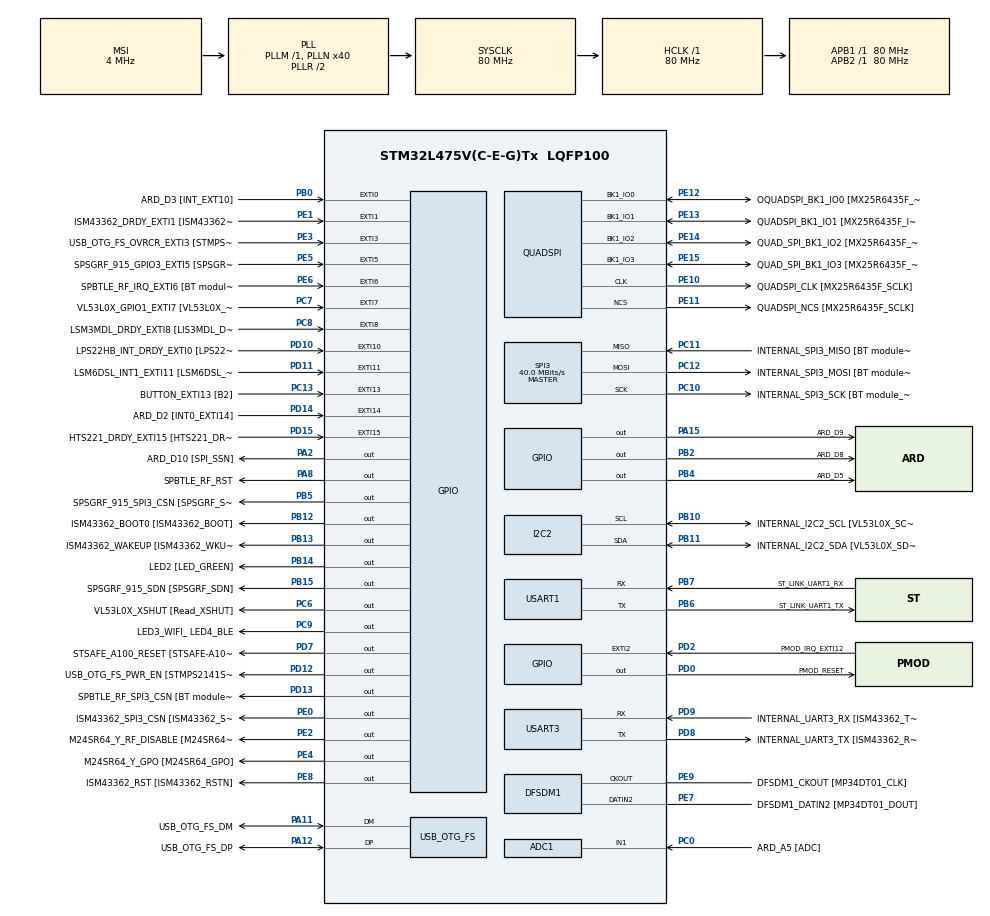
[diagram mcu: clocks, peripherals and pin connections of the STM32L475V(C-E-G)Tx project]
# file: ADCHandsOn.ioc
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PD12.GPIO_Label=USB_OTG_FS_PWR_EN [STMPS2141STR_EN]
SPI3.Direction=SPI_DIRECTION_2LINES
SPI3.VirtualType=VM_MASTER
QUADSPI.ClockPrescaler=2
PB10.Mode=I2C
PC12.Signal=SPI3_MOSI
PB14.GPIO_Label=LED2 [LED_GREEN]
PC6.GPIO_Label=VL53L0X_XSHUT [Read_XSHUT]
PA6.GPIO_Label=ARD_D12 [SPI1_MISO]
PB6.GPIO_Label=ST_LINK_UART1_TX
PA15\ (JTDI).Signal=GPIO_Output
PC15-OSC32_OUT\ (PC15).Mode=LSE-External-Oscillator
PB13.Signal=GPIO_Output
PD6.GPIO_Label=PMOD_UART2_RX
PE6.GPIO_Label=SPBTLE_RF_IRQ_EXTI6 [BT module_SPI_IRQ]
RCC.SYSCLKSource=RCC_SYSCLKSOURCE_PLLCLK
PC14-OSC32_IN\ (PC14).Mode=LSE-External-Oscillator
SH.ADCx_IN16.0=ADC1_IN16
USART3.VirtualMode-Asynchronous=VM_ASYNC
PA14\ (JTCK-SWCLK).Signal=SYS_JTCK-SWCLK
PD4.Signal=USART2_RTS
RCC.APB2TimFreq_Value=80000000
PB6.Signal=USART1_TX
PC7.Signal=GPXTI7
PB6.Mode=Asynchronous
PC3.Signal=ADCx_IN4
PD0.Signal=GPIO_Output
PD8.Signal=USART3_TX
PE5.Signal=GPXTI5
PE1.Signal=GPXTI1
QUADSPI.FlashSize=23
NVIC.EXTI15_10_IRQn=true\:0\:0\:false\:false\:true\:true\:true
PB2.Signal=GPIO_Output
PD1.GPIO_Label=PMOD_SPI2_SCK
PB12.GPIO_Label=ISM43362_BOOT0 [ISM43362_BOOT]
PC4.GPIO_Label=ARD_A1 [ADC]
PE9.Signal=S_CKOUTDFSDM1
PB1.GPIO_Label=ARD_D6 [ADC1_IN6]
PE4.GPIO_Label=M24SR64_Y_GPO [M24SR64_GPO]
PE2.Signal=GPIO_Output
PA8.Signal=GPIO_Output
PE13.Mode=Single Bank
PE10.Signal=QUADSPI_CLK
ADC1.SamplingTime-0\#ChannelRegularConversion=ADC_SAMPLETIME_2CYCLES_5
PA0.Signal=UART4_TX
Mcu.Package=LQFP100
PB9.Signal=I2C1_SDA
PB1.Signal=ADCx_IN16
SPI3.Mode=SPI_MODE_MASTER
SH.ADCx_IN14.0=ADC1_IN14
PD12.Signal=GPIO_Output
PA10.Signal=USB_OTG_FS_ID
PE12.GPIO_Label=OQUADSPI_BK1_IO0 [MX25R6435F_IO0]
PC11.Mode=Full_Duplex_Master
SH.ADCx_IN9.0=ADC1_IN9
RCC.APB1TimFreq_Value=80000000
PA13\ (JTMS-SWDIO).Signal=SYS_JTMS-SWDIO
PE10.GPIO_Label=QUADSPI_CLK [MX25R6435F_SCLK]
PA4.GPIO_Label=ARD_D7
PD15.Signal=GPXTI15
PE12.Mode=Single Bank
ADC1.Rank-0\#ChannelRegularConversion=1
PD9.GPIO_Label=INTERNAL_UART3_RX [ISM43362_TX]
ADC1.OffsetNumber-0\#ChannelRegularConversion=ADC_OFFSET_NONE
PA9.GPIO_Label=USB_OTG_FS_VBUS [STMPS2141STR_OUT]
PC13.Signal=GPXTI13
PD3.Signal=USART2_CTS
PC6.Signal=GPIO_Output
PE10.Mode=Single Bank
PC2.Signal=ADCx_IN3
PB11.GPIO_Label=INTERNAL_I2C2_SDA [VL53L0X_SDA]
PD7.Signal=GPIO_Output
PD1.Signal=SPI2_SCK
PA11.GPIO_Label=USB_OTG_FS_DM
PC0.Signal=ADCx_IN1
PD10.Signal=GPXTI10
PB8.GPIO_Label=ARD_D15 [I2C1_SCL]
PA8.GPIO_Label=SPBTLE_RF_RST
PB11.Mode=I2C
PE8.GPIO_Label=ISM43362_RST [ISM43362_RSTN]
PA9.Signal=USB_OTG_FS_VBUS
PE9.GPIO_Label=DFSDM1_CKOUT [MP34DT01_CLK]
PD8.Mode=Asynchronous
PB10.Signal=I2C2_SCL
PB14.Signal=GPIO_Output
PA5.Signal=SPI1_SCK
PC12.Mode=Full_Duplex_Master
PE1.GPIO_Label=ISM43362_DRDY_EXTI1 [ISM43362_DATARDY]
PE14.Signal=QUADSPI_BK1_IO2
PE15.Signal=QUADSPI_BK1_IO3
PB15.GPIO_Label=SPSGRF_915_SDN [SPSGRF_SDN]
PE8.Signal=GPIO_Output
PA1.GPIO_Label=ARD_D0 [UART4_RX]
SH.ADCx_IN4.0=ADC1_IN4
QUADSPI.FifoThreshold=4
PC7.GPIO_Label=VL53L0X_GPIO1_EXTI7 [VL53L0X_GPIO1]
PA13\ (JTMS-SWDIO).Mode=Serial_Wire
PA4.Signal=ADCx_IN9
PB5.Signal=GPIO_Output
ADC1.master=1
PE13.GPIO_Label=QUADSPI_BK1_IO1 [MX25R6435F_IO1]
PA5.GPIO_Label=ARD_D13 [SPI1_SCK]
PD11.Signal=GPXTI11
PE5.GPIO_Label=SPSGRF_915_GPIO3_EXTI5 [SPSGRF_GPIO_3]
PC12.GPIO_Label=INTERNAL_SPI3_MOSI [BT module_SPI_MOSI] [ISM43362_MOSI]
PA11.Signal=USB_OTG_FS_DM
ProjectManager.HeapSize=0x200
NVIC.PriorityGroup=NVIC_PRIORITYGROUP_4
PE3.Signal=GPXTI3
PC3.GPIO_Label=ARD_A2 [ADC]
PB4\ (NJTRST).GPIO_Label=ARD_D5
PD2.Signal=GPXTI2
PB0.Signal=GPXTI0
PC1.Signal=ADCx_IN2
PD2.GPIO_Label=PMOD_IRQ_EXTI12
PE15.Mode=Single Bank
Mcu.Family=STM32L4
RCC.CortexFreq_Value=80000000
PE11.GPIO_Label=QUADSPI_NCS [MX25R6435F_SCLK]
SH.ADCx_IN2.0=ADC1_IN2
PC10.Signal=SPI3_SCK
PA0.GPIO_Label=ARD_D1 [UART4_TX]
PC0.GPIO_Label=ARD_A5 [ADC]
PD0.GPIO_Label=PMOD_RESET
PA11.Mode=Device_Only
PB0.GPIO_Label=ARD_D3 [INT_EXT10]
PC13.GPIO_Label=BUTTON_EXTI13 [B2]
PB13.GPIO_Label=ISM43362_WAKEUP [ISM43362_WKUP]
PB11.Signal=I2C2_SDA
PB15.Signal=GPIO_Output
PD9.Mode=Asynchronous
ProjectManager.StackSize=0x400
PB3\ (JTDO-TRACESWO).Signal=SYS_JTDO-SWO
PD13.Signal=GPIO_Output
PA12.Signal=USB_OTG_FS_DP
PE11.Mode=Single Bank
PD11.GPIO_Label=LSM6DSL_INT1_EXTI11 [LSM6DSL_INT1]
RCC.HCLKFreq_Value=80000000
SH.ADCx_IN3.0=ADC1_IN3
PB5.PinState=GPIO_PIN_SET
RCC.AHBFreq_Value=80000000
ADC1.Channel-0\#ChannelRegularConversion=ADC_CHANNEL_1
RCC.HSE_VALUE=8000000
PE13.Signal=QUADSPI_BK1_IO1
PC11.GPIO_Label=INTERNAL_SPI3_MISO [BT module_SPI_MISO] [ISM43362_MISO]
PA10.GPIO_Label=USB_OTG_FS_ID
PB7.Signal=USART1_RX
PE4.Signal=GPIO_Output
QUADSPI.SampleShifting=QSPI_SAMPLE_SHIFTING_HALFCYCLE
PD7.GPIO_Label=STSAFE_A100_RESET [STSAFE-A100_RESET]
PB7.GPIO_Label=ST_LINK_UART1_RX
PD13.GPIO_Label=SPBTLE_RF_SPI3_CSN [BT module_SPI_CS]
PA6.Signal=SPI1_MISO
PD5.GPIO_Label=PMOD_UART2_TX
PA2.GPIO_Label=ARD_D10 [SPI_SSN]
USB_OTG_FS.VirtualMode=Device_Only
PE0.GPIO_Label=ISM43362_SPI3_CSN [ISM43362_SSN]
SH.ADCx_IN1.0=ADC1_IN1,IN1-Single-Ended
PB5.GPIO_Label=SPSGRF_915_SPI3_CSN [SPSGRF_SPI_CS]
PC5.Signal=ADCx_IN14
PD3.GPIO_Label=PMOD_UART2_CTS
PE7.Signal=S_DATAIN2DFSDM1
PD6.Signal=USART2_RX
PE2.GPIO_Label=M24SR64_Y_RF_DISABLE [M24SR64_RFDIS]
PC2.GPIO_Label=ARD_A3 [ADC]
RCC.PLLSAI1N=24
PA3.Signal=S_TIM2_CH4
RCC.MSI_VALUE=4000000
PA14\ (JTCK-SWCLK).Mode=Serial_Wire
SH.ADCx_IN13.0=ADC1_IN13
PD15.GPIO_Label=HTS221_DRDY_EXTI15 [HTS221_DRDY]
PB9.GPIO_Label=ARD_D14 [I2C1_SDA]
PC10.GPIO_Label=INTERNAL_SPI3_SCK [BT module_SPI_SCLK] [ISM43362_SCK]
PC9.GPIO_Label=LED3_WIFI_ LED4_BLE
PC11.Signal=SPI3_MISO
PC8.Signal=GPXTI8
PC4.Signal=ADCx_IN13
PC10.Mode=Full_Duplex_Master
SH.S_DATAIN2DFSDM1.0=DFSDM1_DATIN2,PDM_SPI_Input_from_ch12_and_Internal_Clock
PE14.GPIO_Label=QUAD_SPI_BK1_IO2 [MX25R6435F_IO2]
PC15-OSC32_OUT\ (PC15).Signal=RCC_OSC32_OUT
PD9.Signal=USART3_RX
PD5.Signal=USART2_TX
PA14\ (JTCK-SWCLK).GPIO_Label=SYS_JTCK_SWCLK
PB3\ (JTDO-TRACESWO).GPIO_Label=SYS_JTD0_SWO
PA12.GPIO_Label=USB_OTG_FS_DP
PD8.GPIO_Label=INTERNAL_UART3_TX [ISM43362_RX]
PC8.GPIO_Label=LSM3MDL_DRDY_EXTI8 [LIS3MDL_DRDY]
USART1.VirtualMode-Asynchronous=VM_ASYNC
PE0.PinState=GPIO_PIN_SET
PE15.GPIO_Label=QUAD_SPI_BK1_IO3 [MX25R6435F_IO3]
ProjectManager.TargetToolchain=STM32CubeIDE
PB10.GPIO_Label=INTERNAL_I2C2_SCL [VL53L0X_SCL]
RCC.USBFreq_Value=48000000
PD10.GPIO_Label=LPS22HB_INT_DRDY_EXTI0 [LPS22HB_INT_DRDY] 
PE11.Signal=QUADSPI_NCS
PA1.Signal=UART4_RX
board=B-L475E-IOT01A1
RCC.VCOOutputFreq_Value=160000000
RCC.APB2Freq_Value=80000000
SPI3.CalculateBaudRate=40.0 MBits/s
PA13\ (JTMS-SWDIO).GPIO_Label=SYS_JTMS_SWDIO
PD4.GPIO_Label=PMOD_UART2_RTS
PE14.Mode=Single Bank
SH.S_CKOUTDFSDM1.0=DFSDM1_CKOUT,CKOUT
SH.S_CKOUTDFSDM1.1=DFSDM1_CKOUT,PDM_SPI_Input_from_ch12_and_Internal_Clock
RCC.ADCFreq_Value=48000000
PC1.GPIO_Label=ARD_A4 [ADC]
PD14.GPIO_Label=ARD_D2 [INT0_EXTI14]
PE6.Signal=GPXTI6
PA15\ (JTDI).GPIO_Label=ARD_D9
Mcu.Name=STM32L475V(C-E-G)Tx
PE0.Signal=GPIO_Output
PE7.GPIO_Label=DFSDM1_DATIN2 [MP34DT01_DOUT]
PE12.Signal=QUADSPI_BK1_IO0
PA2.Signal=GPIO_Output
PD14.Signal=GPXTI14
RCC.SYSCLKFreq_VALUE=80000000
PA7.GPIO_Label=ARD_D11 [SPI1_MOSI]
PA12.Mode=Device_Only
PC13.GPIO_ModeDefaultEXTI=GPIO_MODE_IT_FALLING
PC5.GPIO_Label=ARD_A0 [ADC]
PC14-OSC32_IN\ (PC14).Signal=RCC_OSC32_IN
PB7.Mode=Asynchronous
NVIC.EXTI9_5_IRQn=true\:0\:0\:false\:false\:true\:true\:true
PB2.GPIO_Label=ARD_D8
SH.S_TIM2_CH4.0=TIM2_CH4
RCC.HSI_VALUE=16000000
ADC1.NbrOfConversionFlag=1
RCC.PLLN=40
PB8.Signal=I2C1_SCL
PE3.GPIO_Label=USB_OTG_FS_OVRCR_EXTI3 [STMPS2141STR_FAULT]
PC9.Signal=GPIO_Output
PD13.PinState=GPIO_PIN_SET
RCC.APB1Freq_Value=80000000
PB12.Signal=GPIO_Output
PA3.GPIO_Label=ARD_D4
PA7.Signal=SPI1_MOSI
PB4\ (NJTRST).Signal=GPIO_Output

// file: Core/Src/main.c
/* USER CODE BEGIN Header */
/**
  ******************************************************************************
  * @file           : main.c
  * @brief          : Main program body
  ******************************************************************************
  * @attention
  *
  * <h2><center>&copy; Copyright (c) 2021 STMicroelectronics.
  * All rights reserved.</center></h2>
  *
  * This software component is licensed by ST under BSD 3-Clause license,
  * the "License"; You may not use this file except in compliance with the
  * License. You may obtain a copy of the License at:
  *                        opensource.org/licenses/BSD-3-Clause
  *
  ******************************************************************************
  */
/* USER CODE END Header */
#include "main.h"

/* USER CODE BEGIN Includes */
#include <stdio.h>
#include <string.h>
/* USER CODE END Includes */

ADC_HandleTypeDef hadc1;

DFSDM_Channel_HandleTypeDef hdfsdm1_channel1;

I2C_HandleTypeDef hi2c2;

QSPI_HandleTypeDef hqspi;

SPI_HandleTypeDef hspi3;

UART_HandleTypeDef huart1;
UART_HandleTypeDef huart3;

PCD_HandleTypeDef hpcd_USB_OTG_FS;

void SystemClock_Config(void);
static void MX_GPIO_Init(void);
static void MX_DFSDM1_Init(void);
static void MX_I2C2_Init(void);
static void MX_QUADSPI_Init(void);
static void MX_SPI3_Init(void);
static void MX_USART1_UART_Init(void);
static void MX_USART3_UART_Init(void);
static void MX_USB_OTG_FS_PCD_Init(void);
static void MX_ADC1_Init(void);

int main(void)
{

  /* MCU Configuration--------------------------------------------------------*/

  /* Reset of all peripherals, Initializes the Flash interface and the Systick. */
  HAL_Init();

  /* Configure the system clock */
  SystemClock_Config();

  /* Initialize all configured peripherals */
  MX_GPIO_Init();
  MX_DFSDM1_Init();
  MX_I2C2_Init();
  MX_QUADSPI_Init();
  MX_SPI3_Init();
  MX_USART1_UART_Init();
  MX_USART3_UART_Init();
  MX_USB_OTG_FS_PCD_Init();
  MX_ADC1_Init();
  /* USER CODE BEGIN 2 */
  HAL_ADCEx_Calibration_Start(&hadc1, ADC_SINGLE_ENDED);
  /* USER CODE END 2 */

  /* Infinite loop */
  /* USER CODE BEGIN WHILE */
  while (1)
  {
	  HAL_GPIO_TogglePin(LED3_WIFI__LED4_BLE_GPIO_Port, LED3_WIFI__LED4_BLE_Pin);

	  uint16_t adc_values[12];
	  uint8_t lowest_index = 0;
	  uint16_t lowest = adc_values[lowest_index];
	  uint8_t highest_index = 0;
	  uint16_t highest = adc_values[highest_index];

	  // loop 12 times to get adc values which we can average
	  for (uint8_t i = 0; i < 12; i++) {

		  HAL_ADC_Start(&hadc1);
		  HAL_ADC_PollForConversion(&hadc1, 10);
		  uint16_t value = HAL_ADC_GetValue(&hadc1);

		  if (i == 0) {
			  lowest = value;
			  highest = value;
		  }

		  if (value < lowest) {
			  lowest = value;
			  lowest_index = i;
		  }

		  if (value > highest) {
			  highest = value;
			  highest_index = i;
		  }

		  adc_values[i] = value;
	  }

	  adc_values[lowest_index] = 0;
	  adc_values[highest_index] = 0;

	  uint16_t adc_sum = 0;
	  uint16_t adc_avg = 0;

	  for (uint8_t i = 0; i < 12; i++) {
		  adc_sum += adc_values[i];
	  }

	  adc_avg = adc_sum / 10;

	  // Send value to console
	  char buff[250];
	  float volts = adc_avg * (3.3/4096);
	  sprintf(buff, "ARD-A0 averaged raw on 10 readings: %u, volts: %3.4f\r\n", adc_avg, volts);

	  HAL_UART_Transmit(&huart1, (uint8_t *) buff, strlen(buff), 1000);

	  // 60 second delay
	  HAL_Delay(10000);
    /* USER CODE END WHILE */

  }
}

void SystemClock_Config(void)
{
  RCC_OscInitTypeDef RCC_OscInitStruct = {0};
  RCC_ClkInitTypeDef RCC_ClkInitStruct = {0};
  RCC_PeriphCLKInitTypeDef PeriphClkInit = {0};

  /** Configure LSE Drive Capability
  */
  HAL_PWR_EnableBkUpAccess();
  __HAL_RCC_LSEDRIVE_CONFIG(RCC_LSEDRIVE_LOW);
  /** Initializes the RCC Oscillators according to the specified parameters
  * in the RCC_OscInitTypeDef structure.
  */
  RCC_OscInitStruct.OscillatorType = RCC_OSCILLATORTYPE_LSE|RCC_OSCILLATORTYPE_MSI;
  RCC_OscInitStruct.LSEState = RCC_LSE_ON;
  RCC_OscInitStruct.MSIState = RCC_MSI_ON;
  RCC_OscInitStruct.MSICalibrationValue = 0;
  RCC_OscInitStruct.MSIClockRange = RCC_MSIRANGE_6;
  RCC_OscInitStruct.PLL.PLLState = RCC_PLL_ON;
  RCC_OscInitStruct.PLL.PLLSource = RCC_PLLSOURCE_MSI;
  RCC_OscInitStruct.PLL.PLLM = 1;
  RCC_OscInitStruct.PLL.PLLN = 40;
  RCC_OscInitStruct.PLL.PLLP = RCC_PLLP_DIV7;
  RCC_OscInitStruct.PLL.PLLQ = RCC_PLLQ_DIV2;
  RCC_OscInitStruct.PLL.PLLR = RCC_PLLR_DIV2;
  if (HAL_RCC_OscConfig(&RCC_OscInitStruct) != HAL_OK)
  {
    Error_Handler();
  }
  /** Initializes the CPU, AHB and APB buses clocks
  */
  RCC_ClkInitStruct.ClockType = RCC_CLOCKTYPE_HCLK|RCC_CLOCKTYPE_SYSCLK
                              |RCC_CLOCKTYPE_PCLK1|RCC_CLOCKTYPE_PCLK2;
  RCC_ClkInitStruct.SYSCLKSource = RCC_SYSCLKSOURCE_PLLCLK;
  RCC_ClkInitStruct.AHBCLKDivider = RCC_SYSCLK_DIV1;
  RCC_ClkInitStruct.APB1CLKDivider = RCC_HCLK_DIV1;
  RCC_ClkInitStruct.APB2CLKDivider = RCC_HCLK_DIV1;

  if (HAL_RCC_ClockConfig(&RCC_ClkInitStruct, FLASH_LATENCY_4) != HAL_OK)
  {
    Error_Handler();
  }
  PeriphClkInit.PeriphClockSelection = RCC_PERIPHCLK_USART1|RCC_PERIPHCLK_USART3
                              |RCC_PERIPHCLK_I2C2|RCC_PERIPHCLK_DFSDM1
                              |RCC_PERIPHCLK_USB|RCC_PERIPHCLK_ADC;
  PeriphClkInit.Usart1ClockSelection = RCC_USART1CLKSOURCE_PCLK2;
  PeriphClkInit.Usart3ClockSelection = RCC_USART3CLKSOURCE_PCLK1;
  PeriphClkInit.I2c2ClockSelection = RCC_I2C2CLKSOURCE_PCLK1;
  PeriphClkInit.AdcClockSelection = RCC_ADCCLKSOURCE_PLLSAI1;
  PeriphClkInit.Dfsdm1ClockSelection = RCC_DFSDM1CLKSOURCE_PCLK;
  PeriphClkInit.UsbClockSelection = RCC_USBCLKSOURCE_PLLSAI1;
  PeriphClkInit.PLLSAI1.PLLSAI1Source = RCC_PLLSOURCE_MSI;
  PeriphClkInit.PLLSAI1.PLLSAI1M = 1;
  PeriphClkInit.PLLSAI1.PLLSAI1N = 24;
  PeriphClkInit.PLLSAI1.PLLSAI1P = RCC_PLLP_DIV7;
  PeriphClkInit.PLLSAI1.PLLSAI1Q = RCC_PLLQ_DIV2;
  PeriphClkInit.PLLSAI1.PLLSAI1R = RCC_PLLR_DIV2;
  PeriphClkInit.PLLSAI1.PLLSAI1ClockOut = RCC_PLLSAI1_48M2CLK|RCC_PLLSAI1_ADC1CLK;
  if (HAL_RCCEx_PeriphCLKConfig(&PeriphClkInit) != HAL_OK)
  {
    Error_Handler();
  }
  /** Configure the main internal regulator output voltage
  */
  if (HAL_PWREx_ControlVoltageScaling(PWR_REGULATOR_VOLTAGE_SCALE1) != HAL_OK)
  {
    Error_Handler();
  }
  /** Enable MSI Auto calibration
  */
  HAL_RCCEx_EnableMSIPLLMode();
}

static void MX_ADC1_Init(void)
{

  ADC_MultiModeTypeDef multimode = {0};
  ADC_ChannelConfTypeDef sConfig = {0};

  /** Common config
  */
  hadc1.Instance = ADC1;
  hadc1.Init.ClockPrescaler = ADC_CLOCK_ASYNC_DIV1;
  hadc1.Init.Resolution = ADC_RESOLUTION_12B;
  hadc1.Init.DataAlign = ADC_DATAALIGN_RIGHT;
  hadc1.Init.ScanConvMode = ADC_SCAN_DISABLE;
  hadc1.Init.EOCSelection = ADC_EOC_SINGLE_CONV;
  hadc1.Init.LowPowerAutoWait = DISABLE;
  hadc1.Init.ContinuousConvMode = DISABLE;
  hadc1.Init.NbrOfConversion = 1;
  hadc1.Init.DiscontinuousConvMode = DISABLE;
  hadc1.Init.ExternalTrigConv = ADC_SOFTWARE_START;
  hadc1.Init.ExternalTrigConvEdge = ADC_EXTERNALTRIGCONVEDGE_NONE;
  hadc1.Init.DMAContinuousRequests = DISABLE;
  hadc1.Init.Overrun = ADC_OVR_DATA_PRESERVED;
  hadc1.Init.OversamplingMode = DISABLE;
  if (HAL_ADC_Init(&hadc1) != HAL_OK)
  {
    Error_Handler();
  }
  /** Configure the ADC multi-mode
  */
  multimode.Mode = ADC_MODE_INDEPENDENT;
  if (HAL_ADCEx_MultiModeConfigChannel(&hadc1, &multimode) != HAL_OK)
  {
    Error_Handler();
  }
  /** Configure Regular Channel
  */
  sConfig.Channel = ADC_CHANNEL_1;
  sConfig.Rank = ADC_REGULAR_RANK_1;
  sConfig.SamplingTime = ADC_SAMPLETIME_2CYCLES_5;
  sConfig.SingleDiff = ADC_SINGLE_ENDED;
  sConfig.OffsetNumber = ADC_OFFSET_NONE;
  sConfig.Offset = 0;
  if (HAL_ADC_ConfigChannel(&hadc1, &sConfig) != HAL_OK)
  {
    Error_Handler();
  }

}

static void MX_DFSDM1_Init(void)
{

  hdfsdm1_channel1.Instance = DFSDM1_Channel1;
  hdfsdm1_channel1.Init.OutputClock.Activation = ENABLE;
  hdfsdm1_channel1.Init.OutputClock.Selection = DFSDM_CHANNEL_OUTPUT_CLOCK_SYSTEM;
  hdfsdm1_channel1.Init.OutputClock.Divider = 2;
  hdfsdm1_channel1.Init.Input.Multiplexer = DFSDM_CHANNEL_EXTERNAL_INPUTS;
  hdfsdm1_channel1.Init.Input.DataPacking = DFSDM_CHANNEL_STANDARD_MODE;
  hdfsdm1_channel1.Init.Input.Pins = DFSDM_CHANNEL_FOLLOWING_CHANNEL_PINS;
  hdfsdm1_channel1.Init.SerialInterface.Type = DFSDM_CHANNEL_SPI_RISING;
  hdfsdm1_channel1.Init.SerialInterface.SpiClock = DFSDM_CHANNEL_SPI_CLOCK_INTERNAL;
  hdfsdm1_channel1.Init.Awd.FilterOrder = DFSDM_CHANNEL_FASTSINC_ORDER;
  hdfsdm1_channel1.Init.Awd.Oversampling = 1;
  hdfsdm1_channel1.Init.Offset = 0;
  hdfsdm1_channel1.Init.RightBitShift = 0x00;
  if (HAL_DFSDM_ChannelInit(&hdfsdm1_channel1) != HAL_OK)
  {
    Error_Handler();
  }

}

static void MX_I2C2_Init(void)
{

  hi2c2.Instance = I2C2;
  hi2c2.Init.Timing = 0x00000E14;
  hi2c2.Init.OwnAddress1 = 0;
  hi2c2.Init.AddressingMode = I2C_ADDRESSINGMODE_7BIT;
  hi2c2.Init.DualAddressMode = I2C_DUALADDRESS_DISABLE;
  hi2c2.Init.OwnAddress2 = 0;
  hi2c2.Init.OwnAddress2Masks = I2C_OA2_NOMASK;
  hi2c2.Init.GeneralCallMode = I2C_GENERALCALL_DISABLE;
  hi2c2.Init.NoStretchMode = I2C_NOSTRETCH_DISABLE;
  if (HAL_I2C_Init(&hi2c2) != HAL_OK)
  {
    Error_Handler();
  }
  /** Configure Analogue filter
  */
  if (HAL_I2CEx_ConfigAnalogFilter(&hi2c2, I2C_ANALOGFILTER_ENABLE) != HAL_OK)
  {
    Error_Handler();
  }
  /** Configure Digital filter
  */
  if (HAL_I2CEx_ConfigDigitalFilter(&hi2c2, 0) != HAL_OK)
  {
    Error_Handler();
  }

}

static void MX_QUADSPI_Init(void)
{

  /* QUADSPI parameter configuration*/
  hqspi.Instance = QUADSPI;
  hqspi.Init.ClockPrescaler = 2;
  hqspi.Init.FifoThreshold = 4;
  hqspi.Init.SampleShifting = QSPI_SAMPLE_SHIFTING_HALFCYCLE;
  hqspi.Init.FlashSize = 23;
  hqspi.Init.ChipSelectHighTime = QSPI_CS_HIGH_TIME_1_CYCLE;
  hqspi.Init.ClockMode = QSPI_CLOCK_MODE_0;
  if (HAL_QSPI_Init(&hqspi) != HAL_OK)
  {
    Error_Handler();
  }

}

static void MX_SPI3_Init(void)
{

  /* SPI3 parameter configuration*/
  hspi3.Instance = SPI3;
  hspi3.Init.Mode = SPI_MODE_MASTER;
  hspi3.Init.Direction = SPI_DIRECTION_2LINES;
  hspi3.Init.DataSize = SPI_DATASIZE_4BIT;
  hspi3.Init.CLKPolarity = SPI_POLARITY_LOW;
  hspi3.Init.CLKPhase = SPI_PHASE_1EDGE;
  hspi3.Init.NSS = SPI_NSS_SOFT;
  hspi3.Init.BaudRatePrescaler = SPI_BAUDRATEPRESCALER_2;
  hspi3.Init.FirstBit = SPI_FIRSTBIT_MSB;
  hspi3.Init.TIMode = SPI_TIMODE_DISABLE;
  hspi3.Init.CRCCalculation = SPI_CRCCALCULATION_DISABLE;
  hspi3.Init.CRCPolynomial = 7;
  hspi3.Init.CRCLength = SPI_CRC_LENGTH_DATASIZE;
  hspi3.Init.NSSPMode = SPI_NSS_PULSE_ENABLE;
  if (HAL_SPI_Init(&hspi3) != HAL_OK)
  {
    Error_Handler();
  }

}

static void MX_USART1_UART_Init(void)
{

  huart1.Instance = USART1;
  huart1.Init.BaudRate = 115200;
  huart1.Init.WordLength = UART_WORDLENGTH_8B;
  huart1.Init.StopBits = UART_STOPBITS_1;
  huart1.Init.Parity = UART_PARITY_NONE;
  huart1.Init.Mode = UART_MODE_TX_RX;
  huart1.Init.HwFlowCtl = UART_HWCONTROL_NONE;
  huart1.Init.OverSampling = UART_OVERSAMPLING_16;
  huart1.Init.OneBitSampling = UART_ONE_BIT_SAMPLE_DISABLE;
  huart1.AdvancedInit.AdvFeatureInit = UART_ADVFEATURE_NO_INIT;
  if (HAL_UART_Init(&huart1) != HAL_OK)
  {
    Error_Handler();
  }

}

static void MX_USART3_UART_Init(void)
{

  huart3.Instance = USART3;
  huart3.Init.BaudRate = 115200;
  huart3.Init.WordLength = UART_WORDLENGTH_8B;
  huart3.Init.StopBits = UART_STOPBITS_1;
  huart3.Init.Parity = UART_PARITY_NONE;
  huart3.Init.Mode = UART_MODE_TX_RX;
  huart3.Init.HwFlowCtl = UART_HWCONTROL_NONE;
  huart3.Init.OverSampling = UART_OVERSAMPLING_16;
  huart3.Init.OneBitSampling = UART_ONE_BIT_SAMPLE_DISABLE;
  huart3.AdvancedInit.AdvFeatureInit = UART_ADVFEATURE_NO_INIT;
  if (HAL_UART_Init(&huart3) != HAL_OK)
  {
    Error_Handler();
  }

}

static void MX_USB_OTG_FS_PCD_Init(void)
{

  hpcd_USB_OTG_FS.Instance = USB_OTG_FS;
  hpcd_USB_OTG_FS.Init.dev_endpoints = 6;
  hpcd_USB_OTG_FS.Init.speed = PCD_SPEED_FULL;
  hpcd_USB_OTG_FS.Init.phy_itface = PCD_PHY_EMBEDDED;
  hpcd_USB_OTG_FS.Init.Sof_enable = DISABLE;
  hpcd_USB_OTG_FS.Init.low_power_enable = DISABLE;
  hpcd_USB_OTG_FS.Init.lpm_enable = DISABLE;
  hpcd_USB_OTG_FS.Init.battery_charging_enable = DISABLE;
  hpcd_USB_OTG_FS.Init.use_dedicated_ep1 = DISABLE;
  hpcd_USB_OTG_FS.Init.vbus_sensing_enable = DISABLE;
  if (HAL_PCD_Init(&hpcd_USB_OTG_FS) != HAL_OK)
  {
    Error_Handler();
  }

}

static void MX_GPIO_Init(void)
{
  GPIO_InitTypeDef GPIO_InitStruct = {0};

  /* GPIO Ports Clock Enable */
  __HAL_RCC_GPIOE_CLK_ENABLE();
  __HAL_RCC_GPIOC_CLK_ENABLE();
  __HAL_RCC_GPIOA_CLK_ENABLE();
  __HAL_RCC_GPIOB_CLK_ENABLE();
  __HAL_RCC_GPIOD_CLK_ENABLE();

  /*Configure GPIO pin Output Level */
  HAL_GPIO_WritePin(GPIOE, M24SR64_Y_RF_DISABLE_Pin|M24SR64_Y_GPO_Pin|ISM43362_RST_Pin, GPIO_PIN_RESET);

  /*Configure GPIO pin Output Level */
  HAL_GPIO_WritePin(GPIOA, ARD_D10_Pin|SPBTLE_RF_RST_Pin|ARD_D9_Pin, GPIO_PIN_RESET);

  /*Configure GPIO pin Output Level */
  HAL_GPIO_WritePin(GPIOB, ARD_D8_Pin|ISM43362_BOOT0_Pin|ISM43362_WAKEUP_Pin|LED2_Pin
                          |SPSGRF_915_SDN_Pin|ARD_D5_Pin, GPIO_PIN_RESET);

  /*Configure GPIO pin Output Level */
  HAL_GPIO_WritePin(GPIOD, USB_OTG_FS_PWR_EN_Pin|PMOD_RESET_Pin|STSAFE_A100_RESET_Pin, GPIO_PIN_RESET);

  /*Configure GPIO pin Output Level */
  HAL_GPIO_WritePin(SPBTLE_RF_SPI3_CSN_GPIO_Port, SPBTLE_RF_SPI3_CSN_Pin, GPIO_PIN_SET);

  /*Configure GPIO pin Output Level */
  HAL_GPIO_WritePin(GPIOC, VL53L0X_XSHUT_Pin|LED3_WIFI__LED4_BLE_Pin, GPIO_PIN_RESET);

  /*Configure GPIO pin Output Level */
  HAL_GPIO_WritePin(SPSGRF_915_SPI3_CSN_GPIO_Port, SPSGRF_915_SPI3_CSN_Pin, GPIO_PIN_SET);

  /*Configure GPIO pin Output Level */
  HAL_GPIO_WritePin(ISM43362_SPI3_CSN_GPIO_Port, ISM43362_SPI3_CSN_Pin, GPIO_PIN_SET);

  /*Configure GPIO pins : M24SR64_Y_RF_DISABLE_Pin M24SR64_Y_GPO_Pin ISM43362_RST_Pin ISM43362_SPI3_CSN_Pin */
  GPIO_InitStruct.Pin = M24SR64_Y_RF_DISABLE_Pin|M24SR64_Y_GPO_Pin|ISM43362_RST_Pin|ISM43362_SPI3_CSN_Pin;
  GPIO_InitStruct.Mode = GPIO_MODE_OUTPUT_PP;
  GPIO_InitStruct.Pull = GPIO_NOPULL;
  GPIO_InitStruct.Speed = GPIO_SPEED_FREQ_LOW;
  HAL_GPIO_Init(GPIOE, &GPIO_InitStruct);

  /*Configure GPIO pins : USB_OTG_FS_OVRCR_EXTI3_Pin SPSGRF_915_GPIO3_EXTI5_Pin SPBTLE_RF_IRQ_EXTI6_Pin ISM43362_DRDY_EXTI1_Pin */
  GPIO_InitStruct.Pin = USB_OTG_FS_OVRCR_EXTI3_Pin|SPSGRF_915_GPIO3_EXTI5_Pin|SPBTLE_RF_IRQ_EXTI6_Pin|ISM43362_DRDY_EXTI1_Pin;
  GPIO_InitStruct.Mode = GPIO_MODE_IT_RISING;
  GPIO_InitStruct.Pull = GPIO_NOPULL;
  HAL_GPIO_Init(GPIOE, &GPIO_InitStruct);

  /*Configure GPIO pin : BUTTON_EXTI13_Pin */
  GPIO_InitStruct.Pin = BUTTON_EXTI13_Pin;
  GPIO_InitStruct.Mode = GPIO_MODE_IT_FALLING;
  GPIO_InitStruct.Pull = GPIO_NOPULL;
  HAL_GPIO_Init(BUTTON_EXTI13_GPIO_Port, &GPIO_InitStruct);

  /*Configure GPIO pins : ARD_D1_Pin ARD_D0_Pin */
  GPIO_InitStruct.Pin = ARD_D1_Pin|ARD_D0_Pin;
  GPIO_InitStruct.Mode = GPIO_MODE_AF_PP;
  GPIO_InitStruct.Pull = GPIO_NOPULL;
  GPIO_InitStruct.Speed = GPIO_SPEED_FREQ_VERY_HIGH;
  GPIO_InitStruct.Alternate = GPIO_AF8_UART4;
  HAL_GPIO_Init(GPIOA, &GPIO_InitStruct);

  /*Configure GPIO pins : ARD_D10_Pin SPBTLE_RF_RST_Pin ARD_D9_Pin */
  GPIO_InitStruct.Pin = ARD_D10_Pin|SPBTLE_RF_RST_Pin|ARD_D9_Pin;
  GPIO_InitStruct.Mode = GPIO_MODE_OUTPUT_PP;
  GPIO_InitStruct.Pull = GPIO_NOPULL;
  GPIO_InitStruct.Speed = GPIO_SPEED_FREQ_LOW;
  HAL_GPIO_Init(GPIOA, &GPIO_InitStruct);

  /*Configure GPIO pin : ARD_D4_Pin */
  GPIO_InitStruct.Pin = ARD_D4_Pin;
  GPIO_InitStruct.Mode = GPIO_MODE_AF_PP;
  GPIO_InitStruct.Pull = GPIO_NOPULL;
  GPIO_InitStruct.Speed = GPIO_SPEED_FREQ_LOW;
  GPIO_InitStruct.Alternate = GPIO_AF1_TIM2;
  HAL_GPIO_Init(ARD_D4_GPIO_Port, &GPIO_InitStruct);

  /*Configure GPIO pins : ARD_D13_Pin ARD_D12_Pin ARD_D11_Pin */
  GPIO_InitStruct.Pin = ARD_D13_Pin|ARD_D12_Pin|ARD_D11_Pin;
  GPIO_InitStruct.Mode = GPIO_MODE_AF_PP;
  GPIO_InitStruct.Pull = GPIO_NOPULL;
  GPIO_InitStruct.Speed = GPIO_SPEED_FREQ_VERY_HIGH;
  GPIO_InitStruct.Alternate = GPIO_AF5_SPI1;
  HAL_GPIO_Init(GPIOA, &GPIO_InitStruct);

  /*Configure GPIO pin : ARD_D3_Pin */
  GPIO_InitStruct.Pin = ARD_D3_Pin;
  GPIO_InitStruct.Mode = GPIO_MODE_IT_RISING;
  GPIO_InitStruct.Pull = GPIO_NOPULL;
  HAL_GPIO_Init(ARD_D3_GPIO_Port, &GPIO_InitStruct);

  /*Configure GPIO pins : ARD_D8_Pin ISM43362_BOOT0_Pin ISM43362_WAKEUP_Pin LED2_Pin
                           SPSGRF_915_SDN_Pin ARD_D5_Pin SPSGRF_915_SPI3_CSN_Pin */
  GPIO_InitStruct.Pin = ARD_D8_Pin|ISM43362_BOOT0_Pin|ISM43362_WAKEUP_Pin|LED2_Pin
                          |SPSGRF_915_SDN_Pin|ARD_D5_Pin|SPSGRF_915_SPI3_CSN_Pin;
  GPIO_InitStruct.Mode = GPIO_MODE_OUTPUT_PP;
  GPIO_InitStruct.Pull = GPIO_NOPULL;
  GPIO_InitStruct.Speed = GPIO_SPEED_FREQ_LOW;
  HAL_GPIO_Init(GPIOB, &GPIO_InitStruct);

  /*Configure GPIO pins : LPS22HB_INT_DRDY_EXTI0_Pin LSM6DSL_INT1_EXTI11_Pin ARD_D2_Pin HTS221_DRDY_EXTI15_Pin
                           PMOD_IRQ_EXTI12_Pin */
  GPIO_InitStruct.Pin = LPS22HB_INT_DRDY_EXTI0_Pin|LSM6DSL_INT1_EXTI11_Pin|ARD_D2_Pin|HTS221_DRDY_EXTI15_Pin
                          |PMOD_IRQ_EXTI12_Pin;
  GPIO_InitStruct.Mode = GPIO_MODE_IT_RISING;
  GPIO_InitStruct.Pull = GPIO_NOPULL;
  HAL_GPIO_Init(GPIOD, &GPIO_InitStruct);

  /*Configure GPIO pins : USB_OTG_FS_PWR_EN_Pin SPBTLE_RF_SPI3_CSN_Pin PMOD_RESET_Pin STSAFE_A100_RESET_Pin */
  GPIO_InitStruct.Pin = USB_OTG_FS_PWR_EN_Pin|SPBTLE_RF_SPI3_CSN_Pin|PMOD_RESET_Pin|STSAFE_A100_RESET_Pin;
  GPIO_InitStruct.Mode = GPIO_MODE_OUTPUT_PP;
  GPIO_InitStruct.Pull = GPIO_NOPULL;
  GPIO_InitStruct.Speed = GPIO_SPEED_FREQ_LOW;
  HAL_GPIO_Init(GPIOD, &GPIO_InitStruct);

  /*Configure GPIO pins : VL53L0X_XSHUT_Pin LED3_WIFI__LED4_BLE_Pin */
  GPIO_InitStruct.Pin = VL53L0X_XSHUT_Pin|LED3_WIFI__LED4_BLE_Pin;
  GPIO_InitStruct.Mode = GPIO_MODE_OUTPUT_PP;
  GPIO_InitStruct.Pull = GPIO_NOPULL;
  GPIO_InitStruct.Speed = GPIO_SPEED_FREQ_LOW;
  HAL_GPIO_Init(GPIOC, &GPIO_InitStruct);

  /*Configure GPIO pins : VL53L0X_GPIO1_EXTI7_Pin LSM3MDL_DRDY_EXTI8_Pin */
  GPIO_InitStruct.Pin = VL53L0X_GPIO1_EXTI7_Pin|LSM3MDL_DRDY_EXTI8_Pin;
  GPIO_InitStruct.Mode = GPIO_MODE_IT_RISING;
  GPIO_InitStruct.Pull = GPIO_NOPULL;
  HAL_GPIO_Init(GPIOC, &GPIO_InitStruct);

  /*Configure GPIO pin : PMOD_SPI2_SCK_Pin */
  GPIO_InitStruct.Pin = PMOD_SPI2_SCK_Pin;
  GPIO_InitStruct.Mode = GPIO_MODE_AF_PP;
  GPIO_InitStruct.Pull = GPIO_NOPULL;
  GPIO_InitStruct.Speed = GPIO_SPEED_FREQ_VERY_HIGH;
  GPIO_InitStruct.Alternate = GPIO_AF5_SPI2;
  HAL_GPIO_Init(PMOD_SPI2_SCK_GPIO_Port, &GPIO_InitStruct);

  /*Configure GPIO pins : PMOD_UART2_CTS_Pin PMOD_UART2_RTS_Pin PMOD_UART2_TX_Pin PMOD_UART2_RX_Pin */
  GPIO_InitStruct.Pin = PMOD_UART2_CTS_Pin|PMOD_UART2_RTS_Pin|PMOD_UART2_TX_Pin|PMOD_UART2_RX_Pin;
  GPIO_InitStruct.Mode = GPIO_MODE_AF_PP;
  GPIO_InitStruct.Pull = GPIO_NOPULL;
  GPIO_InitStruct.Speed = GPIO_SPEED_FREQ_VERY_HIGH;
  GPIO_InitStruct.Alternate = GPIO_AF7_USART2;
  HAL_GPIO_Init(GPIOD, &GPIO_InitStruct);

  /*Configure GPIO pins : ARD_D15_Pin ARD_D14_Pin */
  GPIO_InitStruct.Pin = ARD_D15_Pin|ARD_D14_Pin;
  GPIO_InitStruct.Mode = GPIO_MODE_AF_OD;
  GPIO_InitStruct.Pull = GPIO_PULLUP;
  GPIO_InitStruct.Speed = GPIO_SPEED_FREQ_VERY_HIGH;
  GPIO_InitStruct.Alternate = GPIO_AF4_I2C1;
  HAL_GPIO_Init(GPIOB, &GPIO_InitStruct);

  /* EXTI interrupt init*/
  HAL_NVIC_SetPriority(EXTI9_5_IRQn, 0, 0);
  HAL_NVIC_EnableIRQ(EXTI9_5_IRQn);

  HAL_NVIC_SetPriority(EXTI15_10_IRQn, 0, 0);
  HAL_NVIC_EnableIRQ(EXTI15_10_IRQn);

}

void Error_Handler(void)
{
  __disable_irq();
  while (1)
  {
  }
}

/************************ (C) COPYRIGHT STMicroelectronics *****END OF FILE****/
